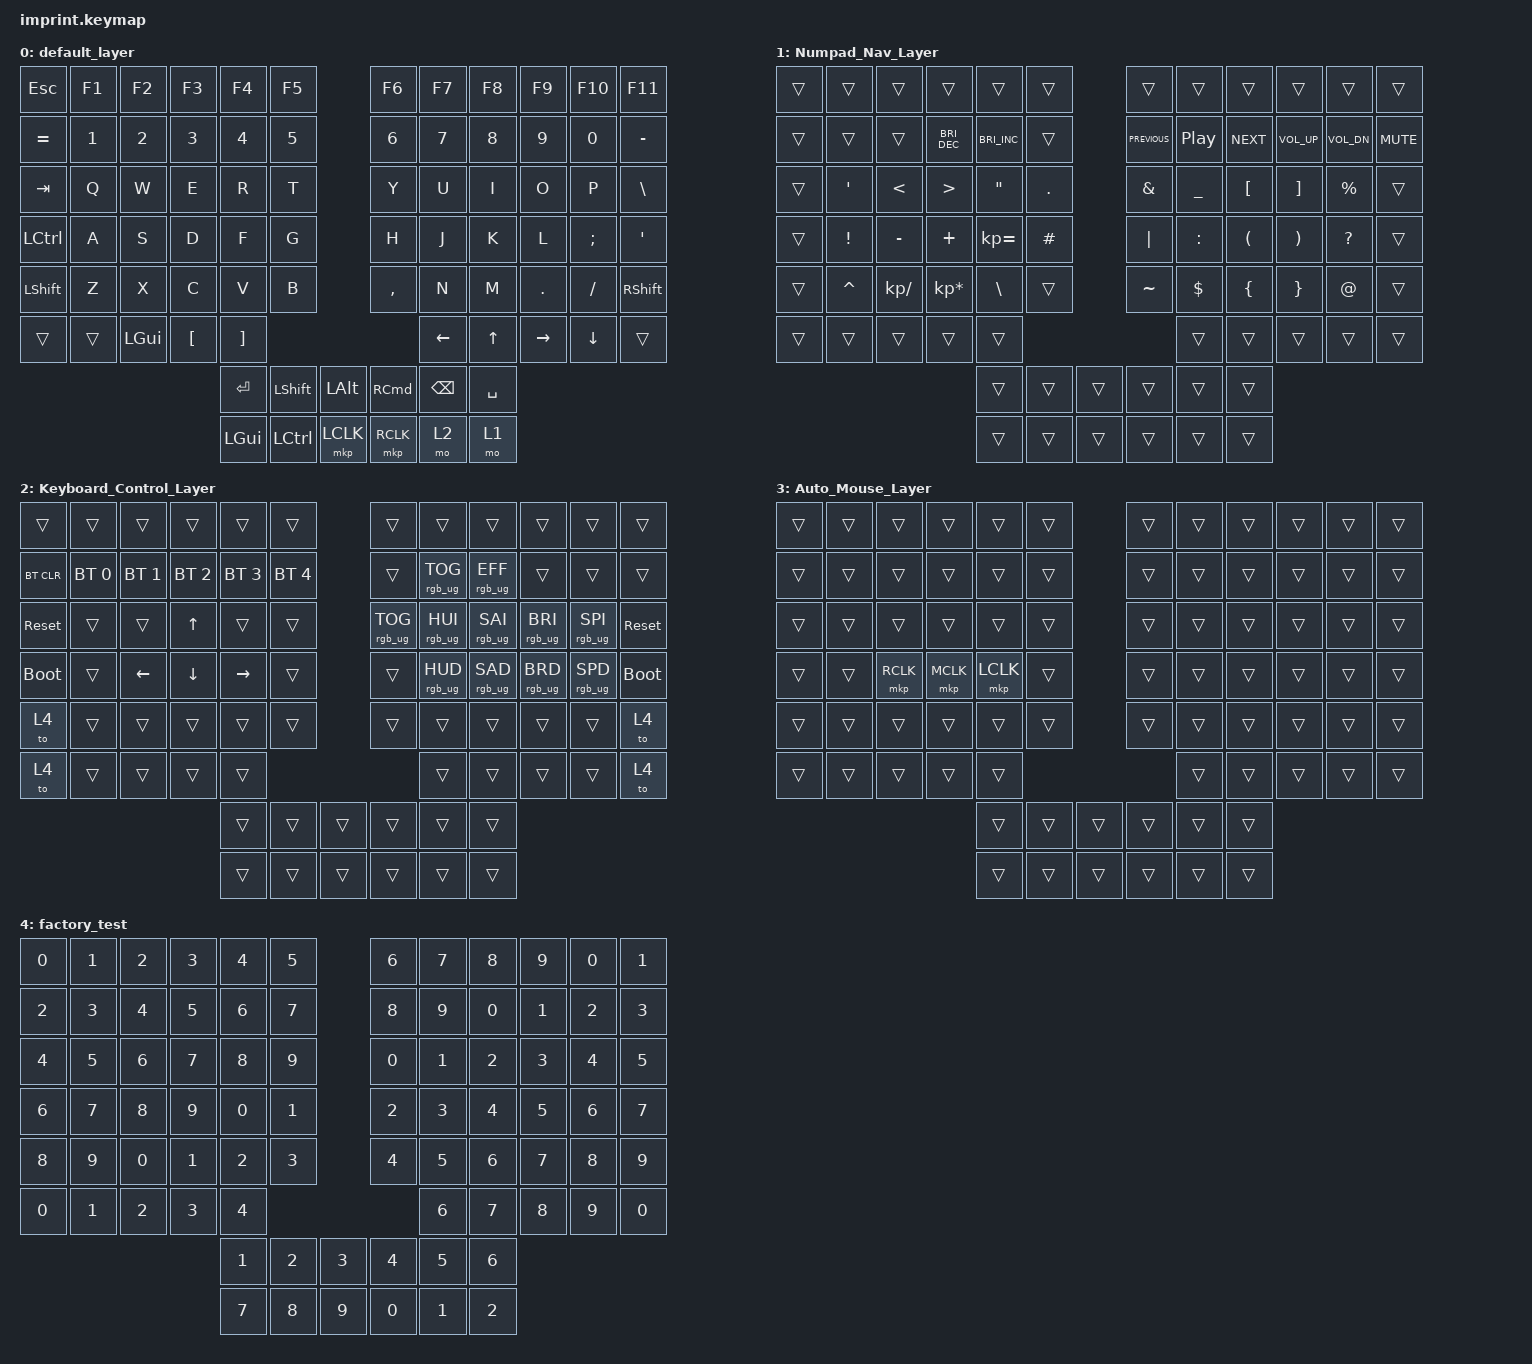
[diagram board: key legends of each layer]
#include <input/processors.dtsi>
#include <dt-bindings/zmk/input_transform.h>
#include <behaviors.dtsi>
#include <dt-bindings/zmk/bt.h>
#include <dt-bindings/zmk/keys.h>
#include <dt-bindings/zmk/pointing.h>
#include <dt-bindings/zmk/rgb.h>

/ {
    chosen { zmk,matrix-transform = &imprint_function_row_full_bottom_row; };

    macros {
        left_screen: left_screen {
            compatible = "zmk,behavior-macro";
            #binding-cells = <0>;
            bindings = <&macro_tap>, <&kp LEFT_CONTROL &kp LEFT>;

            label = "LEFT_SCREEN";
        };

        right_screen: right_screen {
            compatible = "zmk,behavior-macro";
            #binding-cells = <0>;
            bindings = <&macro_tap>, <&kp LEFT_CONTROL &kp RIGHT>;

            label = "RIGHT_SCREEN";
        };

        all_screen: all_screen {
            compatible = "zmk,behavior-macro";
            #binding-cells = <0>;
            bindings = <&macro_tap>, <&kp LEFT_CONTROL &kp UP_ARROW>;

            label = "ALL_SCREEN";
        };

        prev_cursor_location: last_cursor_location {
            compatible = "zmk,behavior-macro";
            #binding-cells = <0>;
            bindings = <&macro_tap>, <&kp LEFT_COMMAND &kp LEFT_BRACKET>;

            label = "LAST_CURSOR_LOCATION";
        };

        next_cursor_locatoin: next_cursor_locatoin {
            compatible = "zmk,behavior-macro";
            #binding-cells = <0>;
            bindings = <&macro_tap>, <&kp LEFT_COMMAND &kp RIGHT_BRACKET>;

            label = "NEXT_CURSOR_LOCATOIN";
        };
    };

    keymap {
        compatible = "zmk,keymap";

        default_layer {
            bindings = <
&kp ESC    &kp F1  &kp F2    &kp F3            &kp F4             &kp F5                            &kp F6             &kp F7    &kp F8        &kp F9     &kp F10         &kp F11
&kp EQUAL  &kp N1  &kp N2    &kp N3            &kp N4             &kp N5                            &kp N6             &kp N7    &kp N8        &kp N9     &kp N0          &kp MINUS
&kp TAB    &kp Q   &kp W     &kp E             &kp R              &kp T                             &kp Y              &kp U     &kp I         &kp O      &kp P           &kp BSLH
&kp LCTRL  &kp A   &kp S     &kp D             &kp F              &kp G                             &kp H              &kp J     &kp K         &kp L      &kp SEMI        &kp SQT
&kp LSHFT  &kp Z   &kp X     &kp C             &kp V              &kp B                             &kp COMMA          &kp N     &kp M         &kp DOT    &kp FSLH        &kp RSHFT
&trans     &trans  &kp LGUI  &kp LEFT_BRACKET  &kp RIGHT_BRACKET                                                       &kp LEFT  &kp UP_ARROW  &kp RIGHT  &kp DOWN_ARROW  &trans
                                               &kp RET            &kp LEFT_SHIFT    &kp LEFT_ALT    &kp RIGHT_COMMAND  &kp BSPC  &kp SPACE
                                               &kp LGUI           &kp LEFT_CONTROL  &mkp LCLK       &mkp RCLK          &mo 2     &mo 1
            >;
        };

        Numpad_Nav_Layer {
            bindings = <
&trans  &trans            &trans         &trans                &trans                &trans              &trans          &trans            &trans                &trans                 &trans        &trans
&trans  &trans            &trans         &kp C_BRIGHTNESS_DEC  &kp C_BRIGHTNESS_INC  &trans              &kp C_PREVIOUS  &kp C_PLAY_PAUSE  &kp C_NEXT            &kp C_VOL_UP           &kp C_VOL_DN  &kp C_MUTE
&trans  &kp SINGLE_QUOTE  &kp LESS_THAN  &kp GREATER_THAN      &kp DOUBLE_QUOTES     &kp DOT             &kp AMPERSAND   &kp UNDERSCORE    &kp LEFT_BRACKET      &kp RIGHT_BRACKET      &kp PERCENT   &trans
&trans  &kp EXCL          &kp MINUS      &kp PLUS              &kp KP_EQUAL          &kp HASH            &kp PIPE        &kp COLON         &kp LEFT_PARENTHESIS  &kp RIGHT_PARENTHESIS  &kp QUESTION  &trans
&trans  &kp CARET         &kp KP_DIVIDE  &kp KP_MULTIPLY       &kp BACKSLASH         &trans              &kp TILDE       &kp DOLLAR        &kp LEFT_BRACE        &kp RIGHT_BRACE        &kp AT        &trans
&trans  &trans            &trans         &trans                &trans                                                    &trans            &trans                &trans                 &trans        &trans
                                                               &trans                &trans    &trans    &trans          &trans            &trans
                                                               &trans                &trans    &trans    &trans          &trans            &trans
            >;
        };

        Keyboard_Control_Layer {
            bindings = <
&trans       &trans        &trans          &trans          &trans        &trans                  &trans           &trans           &trans           &trans           &trans           &trans
&bt BT_CLR   &bt BT_SEL 0  &bt BT_SEL 1    &bt BT_SEL 2    &bt BT_SEL 3  &bt BT_SEL 4            &trans           &rgb_ug RGB_TOG  &rgb_ug RGB_EFF  &trans           &trans           &trans
&sys_reset   &trans        &trans          &kp UP_ARROW    &trans        &trans                  &rgb_ug RGB_TOG  &rgb_ug RGB_HUI  &rgb_ug RGB_SAI  &rgb_ug RGB_BRI  &rgb_ug RGB_SPI  &sys_reset
&bootloader  &trans        &kp LEFT_ARROW  &kp DOWN_ARROW  &kp RIGHT     &trans                  &trans           &rgb_ug RGB_HUD  &rgb_ug RGB_SAD  &rgb_ug RGB_BRD  &rgb_ug RGB_SPD  &bootloader
&to 4        &trans        &trans          &trans          &trans        &trans                  &trans           &trans           &trans           &trans           &trans           &to 4
&to 4        &trans        &trans          &trans          &trans                                                 &trans           &trans           &trans           &trans           &to 4
                                                           &trans        &trans        &trans    &trans           &trans           &trans
                                                           &trans        &trans        &trans    &trans           &trans           &trans
            >;
        };

        Auto_Mouse_Layer {
            bindings = <
&trans  &trans  &trans     &trans     &trans     &trans            &trans  &trans  &trans  &trans  &trans  &trans
&trans  &trans  &trans     &trans     &trans     &trans            &trans  &trans  &trans  &trans  &trans  &trans
&trans  &trans  &trans     &trans     &trans     &trans            &trans  &trans  &trans  &trans  &trans  &trans
&trans  &trans  &mkp RCLK  &mkp MCLK  &mkp LCLK  &trans            &trans  &trans  &trans  &trans  &trans  &trans
&trans  &trans  &trans     &trans     &trans     &trans            &trans  &trans  &trans  &trans  &trans  &trans
&trans  &trans  &trans     &trans     &trans                               &trans  &trans  &trans  &trans  &trans
                                      &trans     &trans  &trans    &trans  &trans  &trans
                                      &trans     &trans  &trans    &trans  &trans  &trans
            >;
        };

        factory_test {
            bindings = <
&kp N0  &kp N1  &kp N2  &kp N3  &kp N4  &kp N5            &kp N6  &kp N7  &kp N8  &kp N9  &kp N0  &kp N1
&kp N2  &kp N3  &kp N4  &kp N5  &kp N6  &kp N7            &kp N8  &kp N9  &kp N0  &kp N1  &kp N2  &kp N3
&kp N4  &kp N5  &kp N6  &kp N7  &kp N8  &kp N9            &kp N0  &kp N1  &kp N2  &kp N3  &kp N4  &kp N5
&kp N6  &kp N7  &kp N8  &kp N9  &kp N0  &kp N1            &kp N2  &kp N3  &kp N4  &kp N5  &kp N6  &kp N7
&kp N8  &kp N9  &kp N0  &kp N1  &kp N2  &kp N3            &kp N4  &kp N5  &kp N6  &kp N7  &kp N8  &kp N9
&kp N0  &kp N1  &kp N2  &kp N3  &kp N4                            &kp N6  &kp N7  &kp N8  &kp N9  &kp N0
                                &kp N1  &kp N2  &kp N3    &kp N4  &kp N5  &kp N6
                                &kp N7  &kp N8  &kp N9    &kp N0  &kp N1  &kp N2
            >;
        };
    };
};

// right hand trackball configuration
// &trackball_peripheral_listener {
//    input-processors =
//     activate layer 3 within 500ms of the trackball moving
//     <&zip_temp_layer 3 500>;
// };
//left hand trackball configuration

&trackball_central_listener {
    input-processors =
        // multiply sensitivity by 1, divide by 5 (make it slower for scrolling),,,,,,,,,,
        <&zip_xy_scaler 1 32>,
        // make this trackball output scrolling events by default instead of cursor movement,,,,,,,,,,
        <&zip_xy_to_scroll_mapper>,
        // invert vertical scrolling so that the view moves in the same direction as the top of the trackball.,,,,,,,,,,
        <&zip_scroll_transform INPUT_TRANSFORM_Y_INVERT>;
};
